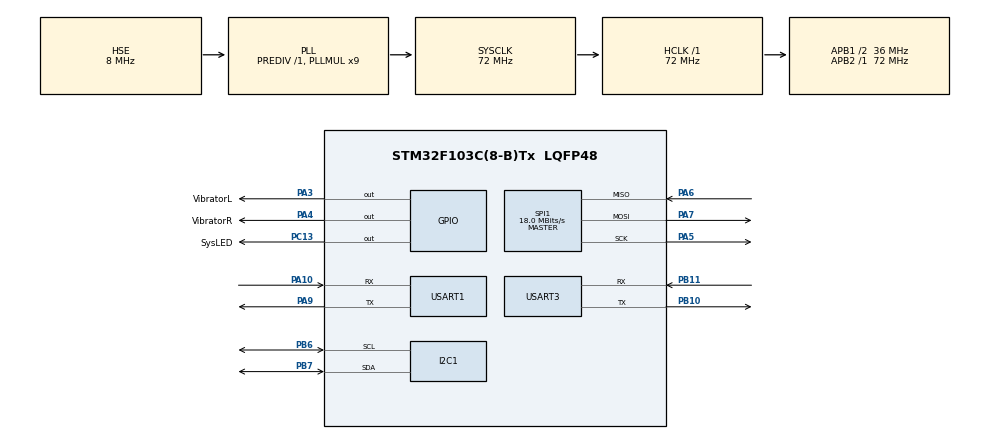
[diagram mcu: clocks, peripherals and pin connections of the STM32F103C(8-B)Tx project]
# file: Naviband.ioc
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Dma.I2C1_RX.4.Direction=DMA_PERIPH_TO_MEMORY
Dma.I2C1_RX.4.Instance=DMA1_Channel7
Dma.I2C1_RX.4.MemDataAlignment=DMA_MDATAALIGN_BYTE
Dma.I2C1_RX.4.MemInc=DMA_MINC_ENABLE
Dma.I2C1_RX.4.Mode=DMA_NORMAL
Dma.I2C1_RX.4.PeriphDataAlignment=DMA_PDATAALIGN_BYTE
Dma.I2C1_RX.4.PeriphInc=DMA_PINC_DISABLE
Dma.I2C1_RX.4.Priority=DMA_PRIORITY_LOW
Dma.I2C1_TX.5.Direction=DMA_MEMORY_TO_PERIPH
Dma.I2C1_TX.5.Instance=DMA1_Channel6
Dma.I2C1_TX.5.MemDataAlignment=DMA_MDATAALIGN_BYTE
Dma.I2C1_TX.5.MemInc=DMA_MINC_ENABLE
Dma.I2C1_TX.5.Mode=DMA_NORMAL
Dma.I2C1_TX.5.PeriphDataAlignment=DMA_PDATAALIGN_BYTE
Dma.I2C1_TX.5.PeriphInc=DMA_PINC_DISABLE
Dma.I2C1_TX.5.Priority=DMA_PRIORITY_LOW
Dma.Request0=USART1_RX
Dma.Request1=USART1_TX
Dma.Request2=SPI1_RX
Dma.Request3=SPI1_TX
Dma.Request4=I2C1_RX
Dma.Request5=I2C1_TX
Dma.SPI1_RX.2.Direction=DMA_PERIPH_TO_MEMORY
Dma.SPI1_RX.2.Instance=DMA1_Channel2
Dma.SPI1_RX.2.MemDataAlignment=DMA_MDATAALIGN_BYTE
Dma.SPI1_RX.2.MemInc=DMA_MINC_ENABLE
Dma.SPI1_RX.2.Mode=DMA_NORMAL
Dma.SPI1_RX.2.PeriphDataAlignment=DMA_PDATAALIGN_BYTE
Dma.SPI1_RX.2.PeriphInc=DMA_PINC_DISABLE
Dma.SPI1_RX.2.Priority=DMA_PRIORITY_LOW
Dma.SPI1_TX.3.Direction=DMA_MEMORY_TO_PERIPH
Dma.SPI1_TX.3.Instance=DMA1_Channel3
Dma.SPI1_TX.3.MemDataAlignment=DMA_MDATAALIGN_BYTE
Dma.SPI1_TX.3.MemInc=DMA_MINC_ENABLE
Dma.SPI1_TX.3.Mode=DMA_NORMAL
Dma.SPI1_TX.3.PeriphDataAlignment=DMA_PDATAALIGN_BYTE
Dma.SPI1_TX.3.PeriphInc=DMA_PINC_DISABLE
Dma.SPI1_TX.3.Priority=DMA_PRIORITY_LOW
Dma.USART1_RX.0.Direction=DMA_PERIPH_TO_MEMORY
Dma.USART1_RX.0.Instance=DMA1_Channel5
Dma.USART1_RX.0.MemDataAlignment=DMA_MDATAALIGN_BYTE
Dma.USART1_RX.0.MemInc=DMA_MINC_ENABLE
Dma.USART1_RX.0.Mode=DMA_NORMAL
Dma.USART1_RX.0.PeriphDataAlignment=DMA_PDATAALIGN_BYTE
Dma.USART1_RX.0.PeriphInc=DMA_PINC_DISABLE
Dma.USART1_RX.0.Priority=DMA_PRIORITY_LOW
Dma.USART1_TX.1.Direction=DMA_MEMORY_TO_PERIPH
Dma.USART1_TX.1.Instance=DMA1_Channel4
Dma.USART1_TX.1.MemDataAlignment=DMA_MDATAALIGN_BYTE
Dma.USART1_TX.1.MemInc=DMA_MINC_ENABLE
Dma.USART1_TX.1.Mode=DMA_NORMAL
Dma.USART1_TX.1.PeriphDataAlignment=DMA_PDATAALIGN_BYTE
Dma.USART1_TX.1.PeriphInc=DMA_PINC_DISABLE
Dma.USART1_TX.1.Priority=DMA_PRIORITY_LOW
FREERTOS.MEMORY_ALLOCATION=1
FREERTOS.Queues01=qVibratorLCMD,16,uint32_t,0,Static,qVibratorLCMDBuffer,qVibratorLCMDControlBlock;qVibratorRCMD,16,uint32_t,0,Static,qVibratorRCMDBuffer,qVibratorRCMDControlBlock;qBTHSerialRead,32,uint8_t,0,Static,qBTHSerialReadBuffer,qBTHSerialReadControlBlock;qAuxSerialRead,32,uint8_t,0,Static,qAuxSerialReadBuffer,qAuxSerialReadontrolBlock;qBTHSerialDMASync,16,uint8_t,0,Static,qBTHSerialDMASyncBuffer,qBTHSerialDMASyncControlBlock
FREERTOS.Tasks01=BlinkSysLED,0,128,osthBlinkSysLED,Default,&SYSLED_INTERVAL,Static,BlinkSysLEDBuffer,BlinkSysLEDControlBlock;BTHDaemon,-1,512,osthBTHDaemon,Default,NULL,Static,BTHDaemonBuffer,BTHDaemonControlBlock;SerialDMAReader,2,128,osthSerialDMAReader,Default,NULL,Static,SerialDMAReaderBuffer,SerialDMAReaderControlBlock;VibratorLExec,-3,128,osthVibratorLExec,Default,NULL,Static,osthVibratorLExecBuffer,osthVibratorLExecControlBlock;VibratorRExec,-3,128,osthVibratorRExec,Default,NULL,Static,osthVibratorRExecBuffer,osthVibratorRExecControlBlock
FREERTOS.configUSE_TIMERS=1
Mcu.Family=STM32F1
Mcu.Name=STM32F103C(8-B)Tx
Mcu.Package=LQFP48
NVIC.DMA1_Channel2_IRQn=true\:5\:0\:false\:false\:true\:true\:false\:true
NVIC.DMA1_Channel3_IRQn=true\:5\:0\:false\:false\:true\:true\:false\:true
NVIC.DMA1_Channel4_IRQn=true\:5\:0\:false\:false\:true\:true\:false\:true
NVIC.DMA1_Channel5_IRQn=true\:5\:0\:false\:false\:true\:true\:false\:true
NVIC.DMA1_Channel6_IRQn=true\:5\:0\:false\:false\:true\:true\:false\:true
NVIC.DMA1_Channel7_IRQn=true\:5\:0\:false\:false\:true\:true\:false\:true
NVIC.PriorityGroup=NVIC_PRIORITYGROUP_4
NVIC.TIM1_UP_IRQn=true\:0\:0\:false\:false\:true\:false\:false\:true
NVIC.TimeBase=TIM1_UP_IRQn
NVIC.TimeBaseIP=TIM1
PA10.Mode=Asynchronous
PA10.Signal=USART1_RX
PA13.Mode=Serial_Wire
PA13.Signal=SYS_JTMS-SWDIO
PA14.Mode=Serial_Wire
PA14.Signal=SYS_JTCK-SWCLK
PA3.GPIO_Label=VibratorL
PA3.Signal=GPIO_Output
PA4.GPIO_Label=VibratorR
PA4.Signal=GPIO_Output
PA5.Mode=Full_Duplex_Master
PA5.Signal=SPI1_SCK
PA6.Mode=Full_Duplex_Master
PA6.Signal=SPI1_MISO
PA7.Mode=Full_Duplex_Master
PA7.Signal=SPI1_MOSI
PA9.Mode=Asynchronous
PA9.Signal=USART1_TX
PB10.Mode=Asynchronous
PB10.Signal=USART3_TX
PB11.Mode=Asynchronous
PB11.Signal=USART3_RX
PB6.Mode=I2C
PB6.Signal=I2C1_SCL
PB7.Mode=I2C
PB7.Signal=I2C1_SDA
PC13-TAMPER-RTC.GPIO_Label=SysLED
PC13-TAMPER-RTC.Signal=GPIO_Output
PC14-OSC32_IN.Signal=RCC_OSC32_IN
PD0-OSC_IN.Mode=HSE-External-Oscillator
PD0-OSC_IN.Signal=RCC_OSC_IN
PD1-OSC_OUT.Mode=HSE-External-Oscillator
PD1-OSC_OUT.Signal=RCC_OSC_OUT
ProjectManager.HeapSize=0x200
ProjectManager.StackSize=0x400
ProjectManager.TargetToolchain=MDK-ARM V5
RCC.AHBFreq_Value=72000000
RCC.APB1CLKDivider=RCC_HCLK_DIV2
RCC.APB1Freq_Value=36000000
RCC.APB1TimFreq_Value=72000000
RCC.APB2Freq_Value=72000000
RCC.APB2TimFreq_Value=72000000
RCC.HCLKFreq_Value=72000000
RCC.PLLMUL=RCC_PLL_MUL9
RCC.PLLSourceVirtual=RCC_PLLSOURCE_HSE
RCC.SYSCLKFreq_VALUE=72000000
RCC.SYSCLKSource=RCC_SYSCLKSOURCE_PLLCLK
RCC.USBFreq_Value=72000000
SPI1.BaudRatePrescaler=SPI_BAUDRATEPRESCALER_4
SPI1.CalculateBaudRate=18.0 MBits/s
SPI1.Direction=SPI_DIRECTION_2LINES
SPI1.Mode=SPI_MODE_MASTER
SPI1.VirtualType=VM_MASTER
USART1.VirtualMode=VM_ASYNC
USART3.VirtualMode=VM_ASYNC
VP_FREERTOS_VS_CMSIS_V1.Mode=CMSIS_V1
VP_SYS_VS_tim1.Mode=TIM1
board=custom

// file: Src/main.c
/* USER CODE BEGIN Header */
/**
  ******************************************************************************
  * @file           : main.c
  * @brief          : Main program body
  ******************************************************************************
  * @attention
  *
  * <h2><center>&copy; Copyright (c) 2019 STMicroelectronics.
  * All rights reserved.</center></h2>
  *
  * This software component is licensed by ST under Ultimate Liberty license
  * SLA0044, the "License"; You may not use this file except in compliance with
  * the License. You may obtain a copy of the License at:
  *                             www.st.com/SLA0044
  *
  ******************************************************************************
  */
/* USER CODE END Header */

#include "main.h"
#include "cmsis_os.h"
#include "dma.h"
#include "i2c.h"
#include "spi.h"
#include "usart.h"
#include "gpio.h"

/* USER CODE BEGIN Includes */
#include "NBConfig.h"

/* USER CODE END Includes */

void SystemClock_Config(void);
void MX_FREERTOS_Init(void);

int main(void)
{

  /* MCU Configuration--------------------------------------------------------*/

  /* Reset of all peripherals, Initializes the Flash interface and the Systick. */
  HAL_Init();

  /* Configure the system clock */
  SystemClock_Config();

  /* Initialize all configured peripherals */
  MX_GPIO_Init();
  MX_DMA_Init();
  MX_I2C1_Init();
  MX_SPI1_Init();
  MX_USART1_UART_Init();
  MX_USART3_UART_Init();

  /* Call init function for freertos objects (in freertos.c) */
  MX_FREERTOS_Init();

  /* Start scheduler */
  osKernelStart();

  /* We should never get here as control is now taken by the scheduler */

  /* Infinite loop */
  while (1)
  {

  }
}

void SystemClock_Config(void)
{
  RCC_OscInitTypeDef RCC_OscInitStruct = {0};
  RCC_ClkInitTypeDef RCC_ClkInitStruct = {0};

  /** Initializes the CPU, AHB and APB busses clocks
  */
  RCC_OscInitStruct.OscillatorType = RCC_OSCILLATORTYPE_HSE;
  RCC_OscInitStruct.HSEState = RCC_HSE_ON;
  RCC_OscInitStruct.HSEPredivValue = RCC_HSE_PREDIV_DIV1;
  RCC_OscInitStruct.HSIState = RCC_HSI_ON;
  RCC_OscInitStruct.PLL.PLLState = RCC_PLL_ON;
  RCC_OscInitStruct.PLL.PLLSource = RCC_PLLSOURCE_HSE;
  RCC_OscInitStruct.PLL.PLLMUL = RCC_PLL_MUL9;
  if (HAL_RCC_OscConfig(&RCC_OscInitStruct) != HAL_OK)
  {
    Error_Handler();
  }
  /** Initializes the CPU, AHB and APB busses clocks
  */
  RCC_ClkInitStruct.ClockType = RCC_CLOCKTYPE_HCLK|RCC_CLOCKTYPE_SYSCLK
                              |RCC_CLOCKTYPE_PCLK1|RCC_CLOCKTYPE_PCLK2;
  RCC_ClkInitStruct.SYSCLKSource = RCC_SYSCLKSOURCE_PLLCLK;
  RCC_ClkInitStruct.AHBCLKDivider = RCC_SYSCLK_DIV1;
  RCC_ClkInitStruct.APB1CLKDivider = RCC_HCLK_DIV2;
  RCC_ClkInitStruct.APB2CLKDivider = RCC_HCLK_DIV1;

  if (HAL_RCC_ClockConfig(&RCC_ClkInitStruct, FLASH_LATENCY_2) != HAL_OK)
  {
    Error_Handler();
  }
}

void HAL_TIM_PeriodElapsedCallback(TIM_HandleTypeDef *htim)
{
  if (htim->Instance == TIM1) {
    HAL_IncTick();
  }
}

void Error_Handler(void)
{
}

/************************ (C) COPYRIGHT STMicroelectronics *****END OF FILE****/

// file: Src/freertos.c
/* USER CODE BEGIN Header */
/**
  ******************************************************************************
  * File Name          : freertos.c
  * Description        : Code for freertos applications
  ******************************************************************************
  * @attention
  *
  * <h2><center>&copy; Copyright (c) 2019 STMicroelectronics.
  * All rights reserved.</center></h2>
  *
  * This software component is licensed by ST under Ultimate Liberty license
  * SLA0044, the "License"; You may not use this file except in compliance with
  * the License. You may obtain a copy of the License at:
  *                             www.st.com/SLA0044
  *
  ******************************************************************************
  */
/* USER CODE END Header */

#include "FreeRTOS.h"
#include "task.h"
#include "main.h"
#include "cmsis_os.h"

/* USER CODE BEGIN Includes */
#include "NBConfig.h"
#include "NBTask/NBTaskBTHDaemon.h"
#include "NBTask/NBVibratorActuator.h"
#include "usart.h"
#include "stm32f1xx_hal_uart.h"
#include "gpio.h"

/* USER CODE END Includes */

osThreadId BlinkSysLEDHandle;
uint32_t BlinkSysLEDBuffer[ 128 ];
osStaticThreadDef_t BlinkSysLEDControlBlock;
osThreadId BTHDaemonHandle;
uint32_t BTHDaemonBuffer[ 512 ];
osStaticThreadDef_t BTHDaemonControlBlock;
osThreadId SerialDMAReaderHandle;
uint32_t SerialDMAReaderBuffer[ 128 ];
osStaticThreadDef_t SerialDMAReaderControlBlock;
osThreadId VibratorLExecHandle;
uint32_t osthVibratorLExecBuffer[ 128 ];
osStaticThreadDef_t osthVibratorLExecControlBlock;
osThreadId VibratorRExecHandle;
uint32_t osthVibratorRExecBuffer[ 128 ];
osStaticThreadDef_t osthVibratorRExecControlBlock;
osMessageQId qVibratorLCMDHandle;
uint8_t qVibratorLCMDBuffer[ 16 * sizeof( uint32_t ) ];
osStaticMessageQDef_t qVibratorLCMDControlBlock;
osMessageQId qVibratorRCMDHandle;
uint8_t qVibratorRCMDBuffer[ 16 * sizeof( uint32_t ) ];
osStaticMessageQDef_t qVibratorRCMDControlBlock;
osMessageQId qBTHSerialReadHandle;
uint8_t qBTHSerialReadBuffer[ 32 * sizeof( uint8_t ) ];
osStaticMessageQDef_t qBTHSerialReadControlBlock;
osMessageQId qAuxSerialReadHandle;
uint8_t qAuxSerialReadBuffer[ 32 * sizeof( uint8_t ) ];
osStaticMessageQDef_t qAuxSerialReadontrolBlock;
osMessageQId qBTHSerialDMASyncHandle;
uint8_t qBTHSerialDMASyncBuffer[ 16 * sizeof( uint8_t ) ];
osStaticMessageQDef_t qBTHSerialDMASyncControlBlock;

void osthBlinkSysLED(void const * argument);
void osthBTHDaemon(void const * argument);
void osthSerialDMAReader(void const * argument);
void osthVibratorLExec(void const * argument);
void osthVibratorRExec(void const * argument);

void MX_FREERTOS_Init(void); /* (MISRA C 2004 rule 8.1) */

/* GetIdleTaskMemory prototype (linked to static allocation support) */
void vApplicationGetIdleTaskMemory( StaticTask_t **ppxIdleTaskTCBBuffer, StackType_t **ppxIdleTaskStackBuffer, uint32_t *pulIdleTaskStackSize );

/* GetTimerTaskMemory prototype (linked to static allocation support) */
void vApplicationGetTimerTaskMemory( StaticTask_t **ppxTimerTaskTCBBuffer, StackType_t **ppxTimerTaskStackBuffer, uint32_t *pulTimerTaskStackSize );

/* USER CODE BEGIN GET_IDLE_TASK_MEMORY */
static StaticTask_t xIdleTaskTCBBuffer;
static StackType_t xIdleStack[configMINIMAL_STACK_SIZE];

void vApplicationGetIdleTaskMemory( StaticTask_t **ppxIdleTaskTCBBuffer, StackType_t **ppxIdleTaskStackBuffer, uint32_t *pulIdleTaskStackSize )
{
  *ppxIdleTaskTCBBuffer = &xIdleTaskTCBBuffer;
  *ppxIdleTaskStackBuffer = &xIdleStack[0];
  *pulIdleTaskStackSize = configMINIMAL_STACK_SIZE;
  /* place for user code */
}
/* USER CODE END GET_IDLE_TASK_MEMORY */

/* USER CODE BEGIN GET_TIMER_TASK_MEMORY */
static StaticTask_t xTimerTaskTCBBuffer;
static StackType_t xTimerStack[configTIMER_TASK_STACK_DEPTH];

void vApplicationGetTimerTaskMemory( StaticTask_t **ppxTimerTaskTCBBuffer, StackType_t **ppxTimerTaskStackBuffer, uint32_t *pulTimerTaskStackSize )
{
  *ppxTimerTaskTCBBuffer = &xTimerTaskTCBBuffer;
  *ppxTimerTaskStackBuffer = &xTimerStack[0];
  *pulTimerTaskStackSize = configTIMER_TASK_STACK_DEPTH;
  /* place for user code */
}
/* USER CODE END GET_TIMER_TASK_MEMORY */

void MX_FREERTOS_Init(void) {

  /* Create the queue(s) */
  /* definition and creation of qVibratorLCMD */
  osMessageQStaticDef(qVibratorLCMD, 16, uint32_t, qVibratorLCMDBuffer, &qVibratorLCMDControlBlock);
  qVibratorLCMDHandle = osMessageCreate(osMessageQ(qVibratorLCMD), NULL);

  /* definition and creation of qVibratorRCMD */
  osMessageQStaticDef(qVibratorRCMD, 16, uint32_t, qVibratorRCMDBuffer, &qVibratorRCMDControlBlock);
  qVibratorRCMDHandle = osMessageCreate(osMessageQ(qVibratorRCMD), NULL);

  /* definition and creation of qBTHSerialRead */
  osMessageQStaticDef(qBTHSerialRead, 32, uint8_t, qBTHSerialReadBuffer, &qBTHSerialReadControlBlock);
  qBTHSerialReadHandle = osMessageCreate(osMessageQ(qBTHSerialRead), NULL);

  /* definition and creation of qAuxSerialRead */
  osMessageQStaticDef(qAuxSerialRead, 32, uint8_t, qAuxSerialReadBuffer, &qAuxSerialReadontrolBlock);
  qAuxSerialReadHandle = osMessageCreate(osMessageQ(qAuxSerialRead), NULL);

  /* definition and creation of qBTHSerialDMASync */
  osMessageQStaticDef(qBTHSerialDMASync, 16, uint8_t, qBTHSerialDMASyncBuffer, &qBTHSerialDMASyncControlBlock);
  qBTHSerialDMASyncHandle = osMessageCreate(osMessageQ(qBTHSerialDMASync), NULL);

  /* Create the thread(s) */
  /* definition and creation of BlinkSysLED */
  osThreadStaticDef(BlinkSysLED, osthBlinkSysLED, osPriorityNormal, 0, 128, BlinkSysLEDBuffer, &BlinkSysLEDControlBlock);
  BlinkSysLEDHandle = osThreadCreate(osThread(BlinkSysLED), (void*) &SYSLED_INTERVAL);

  /* definition and creation of BTHDaemon */
  osThreadStaticDef(BTHDaemon, osthBTHDaemon, osPriorityBelowNormal, 0, 512, BTHDaemonBuffer, &BTHDaemonControlBlock);
  BTHDaemonHandle = osThreadCreate(osThread(BTHDaemon), NULL);

  /* definition and creation of SerialDMAReader */
  osThreadStaticDef(SerialDMAReader, osthSerialDMAReader, osPriorityHigh, 0, 128, SerialDMAReaderBuffer, &SerialDMAReaderControlBlock);
  SerialDMAReaderHandle = osThreadCreate(osThread(SerialDMAReader), NULL);

  /* definition and creation of VibratorLExec */
  osThreadStaticDef(VibratorLExec, osthVibratorLExec, osPriorityIdle, 0, 128, osthVibratorLExecBuffer, &osthVibratorLExecControlBlock);
  VibratorLExecHandle = osThreadCreate(osThread(VibratorLExec), NULL);

  /* definition and creation of VibratorRExec */
  osThreadStaticDef(VibratorRExec, osthVibratorRExec, osPriorityIdle, 0, 128, osthVibratorRExecBuffer, &osthVibratorRExecControlBlock);
  VibratorRExecHandle = osThreadCreate(osThread(VibratorRExec), NULL);

}

void osthBlinkSysLED(void const * argument)
{

  /* USER CODE BEGIN osthBlinkSysLED */
  uint32_t  Interval = *(uint32_t *)argument;

  /* Infinite loop */
  for(;;)
  {
      HAL_GPIO_WritePin(SysLED_GPIO_Port,SysLED_Pin,GPIO_PIN_SET);
      osDelay(Interval);
      HAL_GPIO_WritePin(SysLED_GPIO_Port,SysLED_Pin,GPIO_PIN_RESET);
      osDelay(Interval);
  }
  /* USER CODE END osthBlinkSysLED */
}

void osthBTHDaemon(void const * argument)
{
  /* USER CODE BEGIN osthBTHDaemon */
  /* Infinite loop */
  //to integra with CUBEMX, implement infinite loop in NBTask
  NBBTHDaemonEntry(argument);
  /* USER CODE END osthBTHDaemon */
}

void osthSerialDMAReader(void const * argument)
{
  /* USER CODE BEGIN osthSerialDMAReader */
    uint8_t bytes;
  /* Infinite loop */

  for(;;) {
      HAL_UART_Receive_DMA(&huart1,&bytes,1);
      osMessageGet(qBTHSerialDMASyncHandle,osWaitForever);
      osMessagePut(qBTHSerialReadHandle,bytes,0);
  }
  /* USER CODE END osthSerialDMAReader */
}

void osthVibratorLExec(void const * argument)
{
  /* USER CODE BEGIN osthVibratorLExec */
  /* Infinite loop */
  NBVibratorActuator(NBPIN_VIBRATORL_PORT,NBPIN_VIBRATORL_PIN,qVibratorLCMDHandle);
  /* USER CODE END osthVibratorLExec */
}

void osthVibratorRExec(void const * argument)
{
  /* USER CODE BEGIN osthVibratorRExec */
  /* Infinite loop */
  NBVibratorActuator(NBPIN_VIBRATORR_PORT,NBPIN_VIBRATORR_PIN,qVibratorRCMDHandle);
  /* USER CODE END osthVibratorRExec */
}

/************************ (C) COPYRIGHT STMicroelectronics *****END OF FILE****/
